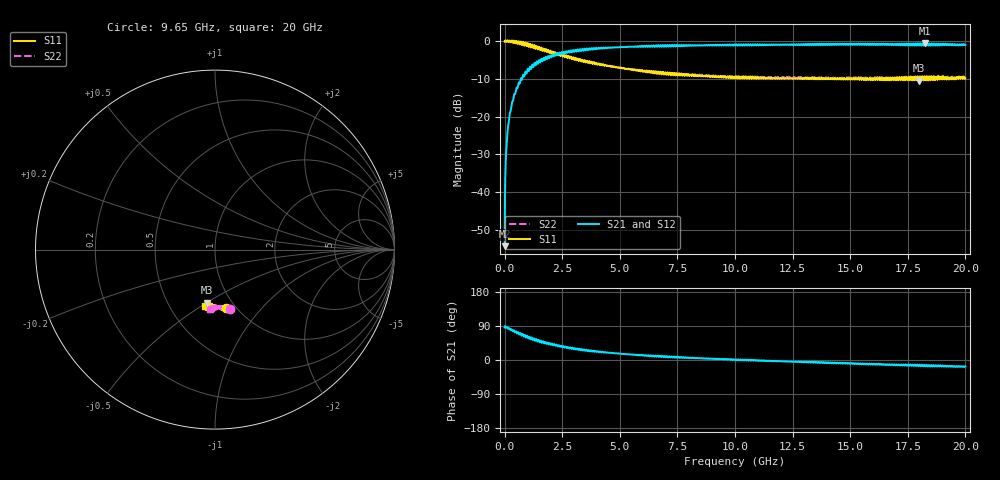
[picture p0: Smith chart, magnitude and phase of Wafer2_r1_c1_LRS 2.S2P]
!  2-Port S-parameters saved by WinCal
! VAR MeasName=S-Parameters (CALIBRATED_DATA) read from VNA (P5004A)
! VAR MeasDate=24/04/2024 17:13:58
! VAR NAME=Wafer2_r1_c1_LRS 2
! VAR FILENAME=Wafer2_r1_c1_LRS 2.S2P
! VAR DATE=24/04/2024 17:13:58
! VAR PHYS_PORTS=1,2
! VAR ObjTypeName=DATASET
! VAR IndexType=Frequency
# Hz S MA R 50
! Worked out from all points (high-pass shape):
!   4999 points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, 4.01 MHz to 20 GHz, reference 50 ohm
!   highest |S21| = -0.63 dB at 18.24 GHz (marker M1); lowest = -54.3 dB at 4.01 MHz (marker M2)
!   |S21| within 3 dB of the highest: 2.253 GHz to 2.319 GHz (65.89 MHz wide, 2.88 % of centre); 2.34 GHz to end of sweep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
!   lowest |S11| = -10.5 dB at 17.98 GHz (marker M3), VSWR 1.86, Z = 38.6 - j25.2 ohm
!   |S11| at or under -10 dB: 15.56514 GHz to 15.62864 GHz (63.5 MHz wide, 0.407 % of centre); 15.66435 GHz to 15.72761 GHz (63.26 MHz wide, 0.403 % of centre); 15.76471 GHz to 15.82723 GHz (62.52 MHz wide, 0.396 % of centre)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
!   |S22| runs from -10.1 to 0.1 dB; largest |S21 - S12| = 0.015
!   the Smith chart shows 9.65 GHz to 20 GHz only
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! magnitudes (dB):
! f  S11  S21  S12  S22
! 4.01 MHz  -0.1  -54.3  -54.3  -0.1
! 40.02 MHz  0.1  -34.2  -34.2  0.1
! 112 MHz  0.0  -25.6  -25.5  0.0
! 140 MHz  0.1  -23.4  -23.5  0.1
! 180 MHz  -0.2  -21.7  -21.7  -0.2
! 248.1 MHz  -0.1  -18.7  -18.8  -0.1
! 348.1 MHz  -0.2  -16.0  -16.1  -0.2
! 464.1 MHz  -0.6  -14.0  -14.0  -0.6
! 624.1 MHz  -0.2  -11.0  -11.0  -0.2
! 824.2 MHz  -0.5  -9.0  -9.0  -0.5
! 1.04 GHz  -1.4  -8.0  -7.9  -1.4
! 1.56 GHz  -2.2  -5.5  -5.5  -2.3
! 2.348 GHz  -3.6  -3.5  -3.5  -3.7
! 3.341 GHz  -5.2  -2.5  -2.5  -5.2
! 4.797 GHz  -6.9  -1.7  -1.7  -6.8
! 6.673 GHz  -8.1  -1.1  -1.1  -8.2
! 10 GHz  -9.7  -1.2  -1.2  -9.6
! 13.33 GHz  -9.9  -1.0  -1.0  -9.7
! 16.67 GHz  -10.3  -0.9  -0.9  -9.7
! 17.98 GHz  -10.5  -1.2  -1.2  -9.9
! 18.24 GHz  -9.4  -0.6  -0.6  -9.5
! 20 GHz  -9.9  -1.0  -1.0  -9.5
